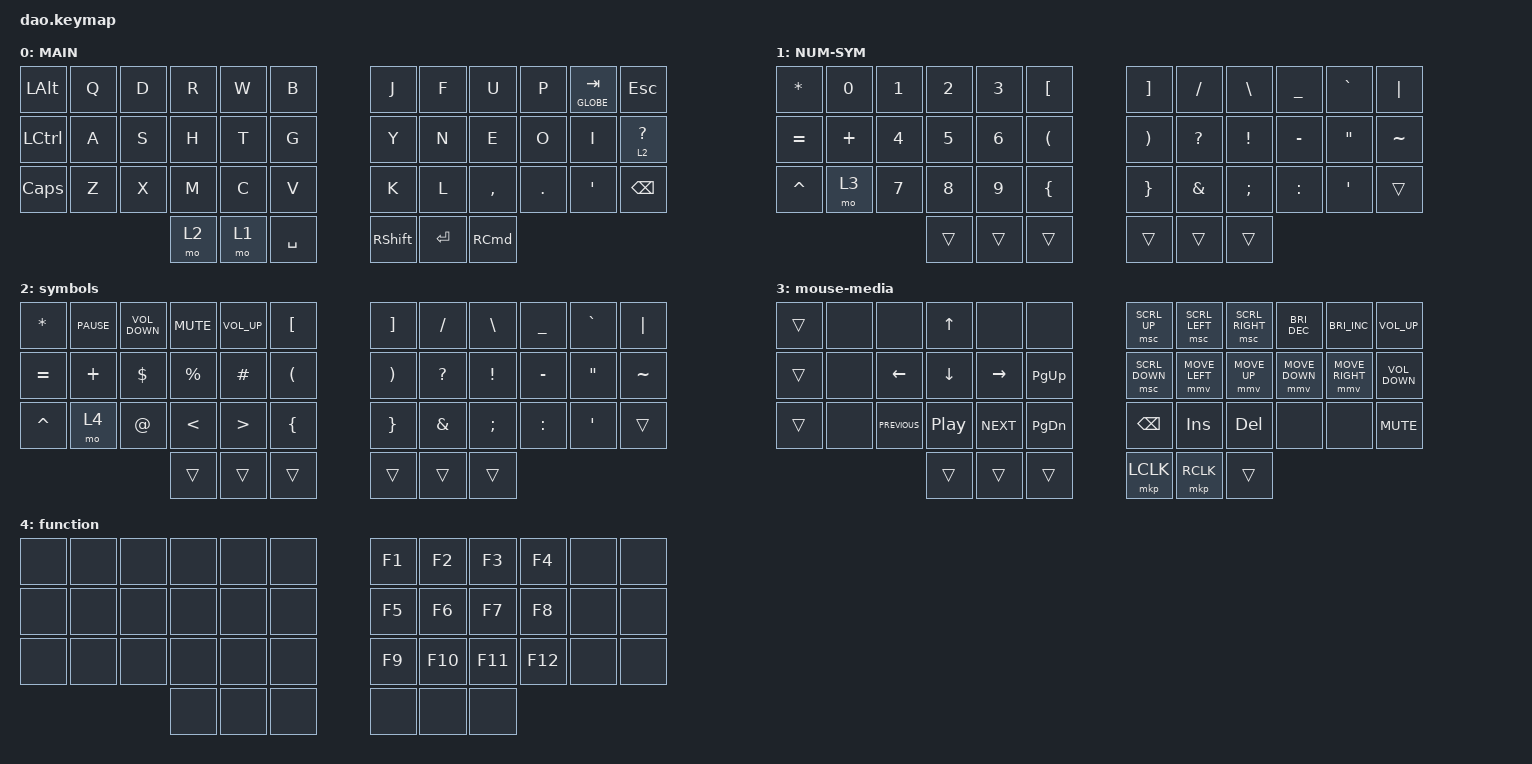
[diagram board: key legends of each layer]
/*
 * Copyright (c) 2021 Rafael Yumagulov
 *
 * SPDX-License-Identifier: MIT
 */

#include <behaviors.dtsi>
#include <dt-bindings/zmk/keys.h>
#include <dt-bindings/zmk/pointing.h>

#define DEF 0
#define LWR 1
#define RSE 2
#define ADJ 3

&lt { quick_tap_ms = <200>; };

&mt { quick_tap_ms = <200>; };

/ {
    chosen {
        zmk,physical_layout = &dao_crkbd_layout;

        // zmk,physical_layout = &dao_full_layout;
    };
};

/ {
    keymap {
        compatible = "zmk,keymap";

        main {
            display-name = "MAIN";
            bindings = <
&kp LEFT_ALT      &kp Q  &kp D  &kp R  &kp W  &kp B      &kp J            &kp F       &kp U              &kp P       &mt GLOBE TAB  &kp ESCAPE
&kp LEFT_CONTROL  &kp A  &kp S  &kp H  &kp T  &kp G      &kp Y            &kp N       &kp E              &kp O       &kp I          &lt 2 QUESTION
&kp CAPSLOCK      &kp Z  &kp X  &kp M  &kp C  &kp V      &kp K            &kp L       &kp COMMA          &kp PERIOD  &kp SQT        &kp BACKSPACE
                                &mo 2  &mo 1  &kp SPACE  &kp RIGHT_SHIFT  &kp RETURN  &kp RIGHT_COMMAND
            >;
        };

        numbers-symbols {
            display-name = "NUM-SYM";
            bindings = <
&kp ASTERISK  &kp N0    &kp N1  &kp N2  &kp N3  &kp LEFT_BRACKET      &kp RIGHT_BRACKET      &kp SLASH      &kp BACKSLASH    &kp UNDERSCORE  &kp GRAVE          &kp PIPE
&kp EQUAL     &kp PLUS  &kp N4  &kp N5  &kp N6  &kp LEFT_PARENTHESIS  &kp RIGHT_PARENTHESIS  &kp QUESTION   &kp EXCLAMATION  &kp MINUS       &kp DOUBLE_QUOTES  &kp TILDE
&kp CARET     &mo 3     &kp N7  &kp N8  &kp N9  &kp LEFT_BRACE        &kp RIGHT_BRACE        &kp AMPERSAND  &kp SEMICOLON    &kp COLON       &kp SQT            &trans
                                &trans  &trans  &trans                &trans                 &trans         &trans
            >;
        };

        symbols {
            bindings = <
&kp ASTERISK  &kp C_PAUSE  &kp C_VOLUME_DOWN  &kp C_MUTE     &kp C_VOLUME_UP   &kp LEFT_BRACKET      &kp RIGHT_BRACKET      &kp SLASH      &kp BACKSLASH    &kp UNDERSCORE  &kp GRAVE          &kp PIPE
&kp EQUAL     &kp PLUS     &kp DOLLAR         &kp PERCENT    &kp HASH          &kp LEFT_PARENTHESIS  &kp RIGHT_PARENTHESIS  &kp QUESTION   &kp EXCLAMATION  &kp MINUS       &kp DOUBLE_QUOTES  &kp TILDE
&kp CARET     &mo 4        &kp AT_SIGN        &kp LESS_THAN  &kp GREATER_THAN  &kp LEFT_BRACE        &kp RIGHT_BRACE        &kp AMPERSAND  &kp SEMICOLON    &kp COLON       &kp SQT            &trans
                                              &trans         &trans            &trans                &trans                 &trans         &trans
            >;
        };

        mouse-media {
            bindings = <
&trans  &none  &none           &kp UP_ARROW      &none       &none          &msc SCRL_UP    &msc SCRL_LEFT  &msc SCRL_RIGHT  &kp C_BRIGHTNESS_DEC  &kp C_BRIGHTNESS_INC  &kp C_VOLUME_UP
&trans  &none  &kp LEFT_ARROW  &kp DOWN_ARROW    &kp RIGHT   &kp PAGE_UP    &msc SCRL_DOWN  &mmv MOVE_LEFT  &mmv MOVE_UP     &mmv MOVE_DOWN        &mmv MOVE_RIGHT       &kp C_VOLUME_DOWN
&trans  &none  &kp C_PREVIOUS  &kp C_PLAY_PAUSE  &kp C_NEXT  &kp PAGE_DOWN  &kp BACKSPACE   &kp INS         &kp DELETE       &none                 &none                 &kp K_MUTE
                               &trans            &trans      &trans         &mkp LCLK       &mkp RCLK       &trans
            >;
        };

        function {
            bindings = <
&none  &none  &none  &none  &none  &none  &kp F1  &kp F2   &kp F3   &kp F4   &none  &none
&none  &none  &none  &none  &none  &none  &kp F5  &kp F6   &kp F7   &kp F8   &none  &none
&none  &none  &none  &none  &none  &none  &kp F9  &kp F10  &kp F11  &kp F12  &none  &none
                     &none  &none  &none  &none   &none    &none
            >;
        };
    };
};
